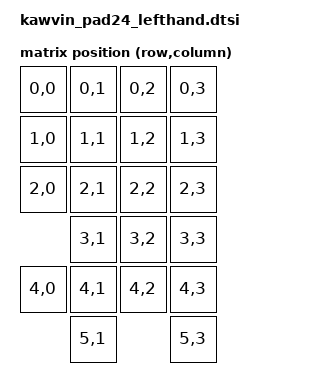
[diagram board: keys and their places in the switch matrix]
/*
 * Copyright (c) 2023 The ZMK Contributors
 *
 * SPDX-License-Identifier: MIT
 */

#include <dt-bindings/zmk/matrix_transform.h>

/ {

    chosen {
        zmk,matrix-transform = &default_transform;
    };

    default_transform: keymap_transform_0 {
        compatible = "zmk,matrix-transform";
        columns = <4>;
        rows = <6>;
//	|=    |BSPC|TAB |ESC     |
//	|-    |*   |/   |Num_Lock|
//	|+    |9   |8   |7       |
//	|     |6   |5   |4       |
//	|ENTER|3   |2   |1       |
//	|     |.   |    |0       |

        map = <
RC(0,0) RC(0,1) RC(0,2) RC(0,3) 
RC(1,0) RC(1,1) RC(1,2) RC(1,3) 
RC(2,0) RC(2,1) RC(2,2) RC(2,3) 
        RC(3,1) RC(3,2) RC(3,3) 
RC(4,0) RC(4,1) RC(4,2) RC(4,3) 
        RC(5,1)         RC(5,3) 


        >;
    };

};

